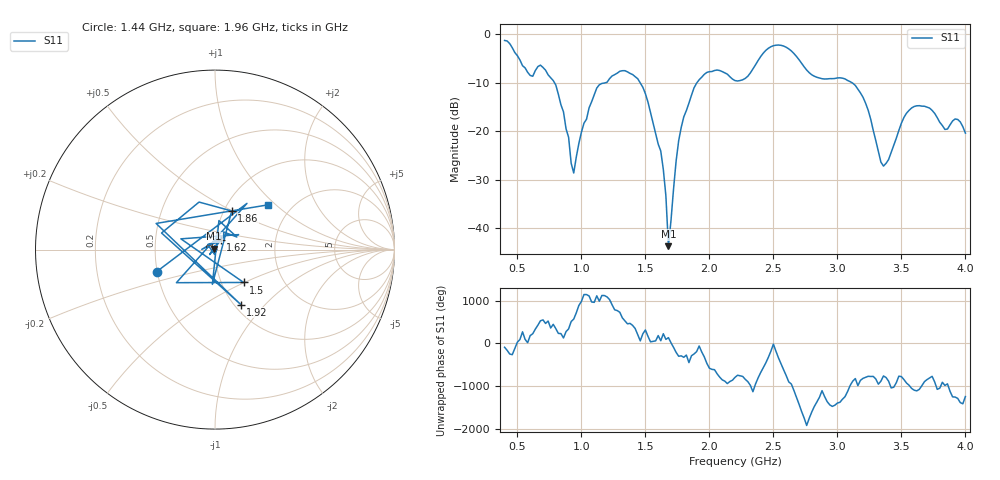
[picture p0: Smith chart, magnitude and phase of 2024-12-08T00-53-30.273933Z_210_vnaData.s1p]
!Created with skrf (http://scikit-rf.org).
# Hz S RI R 50.0
!freq ReS11 ImS11
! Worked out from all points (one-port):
!   181 points, 400 MHz to 4 GHz, reference 50 ohm
!   lowest |S11| = -43.6 dB at 1.68 GHz (marker M1), VSWR 1.01, Z = 49.6 + j0.496 ohm
!   |S11| at or under -10 dB: 789 MHz to 1.193 GHz (404.3 MHz wide, 40.8 % of centre); 1.458 GHz to 1.904 GHz (445.5 MHz wide, 26.5 % of centre); 3.112 GHz to end of sweep
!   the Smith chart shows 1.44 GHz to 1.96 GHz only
!   S11 on the Smith chart (normalised r, x): 1.44 GHz: 0.50, -0.14; 1.5 GHz: 1.27, -0.49; 1.62 GHz: 1.06, +0.11; 1.86 GHz: 1.09, +0.50; 1.92 GHz: 1.07, -0.74; 1.96 GHz: 1.52, +0.89
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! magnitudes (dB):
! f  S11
! 400 MHz  -1.3
! 600 MHz  -8.5
! 720 MHz  -7.5
! 860 MHz  -16.0
! 940 MHz  -28.6
! 1 GHz  -20.2
! 1.12 GHz  -11.1
! 1.3 GHz  -7.7
! 1.44 GHz  -9.2
! 1.5 GHz  -12.3
! 1.62 GHz  -24.1
! 1.66 GHz  -33.3
! 1.68 GHz  -43.6
! 1.76 GHz  -22.0
! 1.86 GHz  -12.6
! 1.92 GHz  -9.4
! 1.96 GHz  -8.3
! 2.2 GHz  -9.6
! 2.48 GHz  -2.6
! 2.66 GHz  -4.0
! 2.82 GHz  -8.7
! 3.1 GHz  -9.8
! 3.22 GHz  -14.2
! 3.36 GHz  -27.2
! 3.56 GHz  -15.7
! 3.72 GHz  -15.2
! 3.84 GHz  -19.6
! 4 GHz  -20.4
